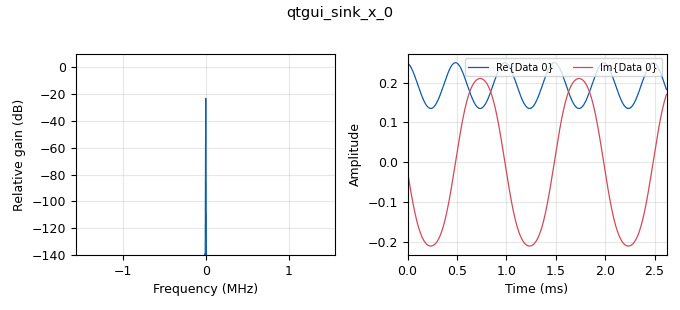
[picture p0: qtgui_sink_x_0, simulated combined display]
options:
  parameters:
    author: Efren
    generate_options: qt_gui
    id: ModulacionFM
    output_language: python
    title: ModulacionFM
  states: {}

blocks:
- name: Ac
  id: variable_qtgui_range
  parameters:
    start: '0'
    step: '0.1'
    stop: '20'
    value: '0.25'
  states: {}
- name: Am
  id: variable_qtgui_range
  parameters:
    start: '0'
    step: '0.1'
    stop: '20'
    value: '1'
  states: {}
- name: GTX
  id: variable_qtgui_range
  parameters:
    start: '0'
    step: '1'
    stop: '30'
    value: '0'
  states: {}
- name: fc
  id: variable_qtgui_range
  parameters:
    label: Frecuencia Portadora [MHz]
    start: '400'
    step: '1'
    stop: '2200'
    value: '400'
  states: {}
- name: fm
  id: variable_qtgui_range
  parameters:
    start: '100'
    step: '100'
    stop: '20000'
    value: '1000'
  states: {}
- name: kp
  id: variable_qtgui_range
  parameters:
    start: '0'
    step: '0.1'
    stop: '10'
    value: '1'
  states: {}
- name: samp_rate
  id: variable
  parameters:
    value: 12500000/4
  states: {}
- name: analog_sig_source_x_0
  id: analog_sig_source_x
  parameters:
    amp: Am
    freq: fm
    offset: '0'
    phase: '0'
    samp_rate: samp_rate
    type: float
    waveform: analog.GR_COS_WAVE
  states: {}
- name: blocks_float_to_complex_0
  id: blocks_float_to_complex
  parameters: {}
  states: {}
- name: blocks_multiply_const_vxx_0
  id: blocks_multiply_const_vxx
  parameters:
    const: kp
    type: float
  states: {}
- name: blocks_multiply_const_vxx_0_0
  id: blocks_multiply_const_vxx
  parameters:
    const: Ac
    type: complex
  states: {}
- name: blocks_throttle_0
  id: blocks_throttle
  parameters:
    samples_per_second: samp_rate
    type: float
  states: {}
- name: blocks_transcendental1
  id: blocks_transcendental
  parameters:
    name: sin
    type: float
  states: {}
- name: blocks_transcendental_0
  id: blocks_transcendental
  parameters:
    name: cos
    type: float
  states: {}
- name: qtgui_sink_x_0
  id: qtgui_sink_x
  parameters:
    bw: samp_rate
    fc: '0'
    fftsize: '8192'
    plotconst: 'False'
    plotwaterfall: 'False'
    type: complex
  states: {}
- name: uhd_usrp_sink_0
  id: uhd_usrp_sink
  parameters:
    ant0: '"TX/RX"'
    center_freq0: fc*1e6
    gain0: GTX
    samp_rate: samp_rate
    sync: pc_clock
    type: fc32
  states: {}
- name: virtual_sink_0
  id: virtual_sink
  parameters:
    stream_id: m_t
  states: {}
- name: virtual_sink_1
  id: virtual_sink
  parameters:
    stream_id: g_t
  states: {}
- name: virtual_source_0
  id: virtual_source
  parameters:
    stream_id: m_t
  states: {}
- name: virtual_source_1
  id: virtual_source
  parameters:
    stream_id: g_t
  states: {}

connections:
- [analog_sig_source_x_0, '0', blocks_throttle_0, '0']
- [blocks_float_to_complex_0, '0', blocks_multiply_const_vxx_0_0, '0']
- [blocks_multiply_const_vxx_0, '0', blocks_transcendental1, '0']
- [blocks_multiply_const_vxx_0, '0', blocks_transcendental_0, '0']
- [blocks_multiply_const_vxx_0_0, '0', virtual_sink_1, '0']
- [blocks_throttle_0, '0', virtual_sink_0, '0']
- [blocks_transcendental1, '0', blocks_float_to_complex_0, '1']
- [blocks_transcendental_0, '0', blocks_float_to_complex_0, '0']
- [virtual_source_0, '0', blocks_multiply_const_vxx_0, '0']
- [virtual_source_1, '0', qtgui_sink_x_0, '0']
- [virtual_source_1, '0', uhd_usrp_sink_0, '0']

metadata:
  file_format: 1
  grc_version: v3.11.0.0git-810-g1ecb8565
